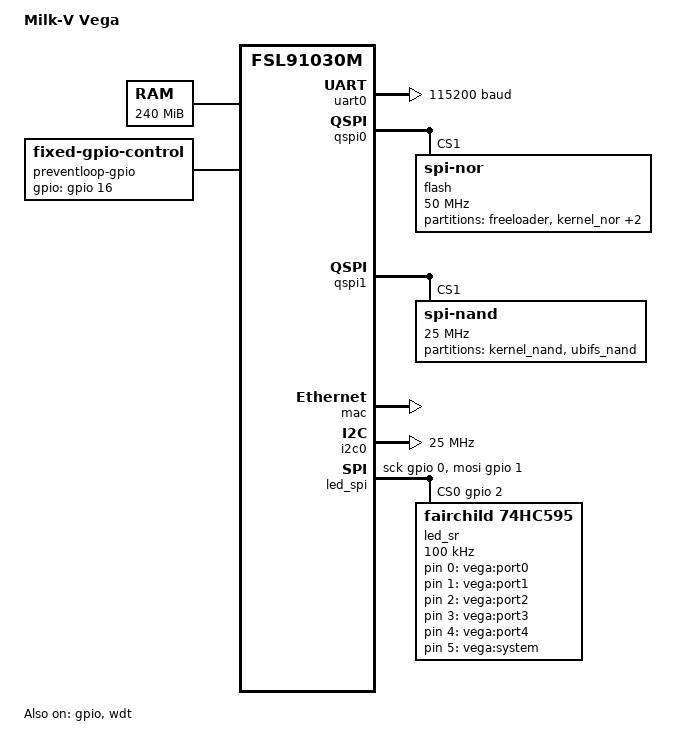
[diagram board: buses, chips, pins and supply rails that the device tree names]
// SPDX-License-Identifier: (GPL-2.0 OR MIT)
/* Copyright (c) 2020 Nuclei System Technologies */

/* Clock frequency (in Hz) of the PCB crystal for rtcclk */
/*#define RTCCLK_FREQ		32768*/

/dts-v1/;

/ {
	#address-cells = <2>;
	#size-cells = <2>;
	compatible = "milkv,vega", "fisilink,fsl91030m";
	model = "Milk-V Vega";

	chosen {
		bootargs = "earlycon=sbi console=ttySIF0,115200 no4lvl no5lvl ubi.mtd=ubifs_nand root=ubi0:rootfs rootfstype=ubifs rootwait rw";
		stdout-path = "serial0";
	};

	aliases {
		serial0 = &uart0;
		serial1 = &uart1;
	};

	cpus {
		#address-cells = <1>;
		#size-cells = <0>;
		timebase-frequency = <48828>;
		
		cpu0: cpu@0 {
			device_type = "cpu";
			reg = <0>;
			status = "okay";
			compatible = "riscv";
			/*
			 * Linux 6.6+ deprecated the single "riscv,isa" string
			 * and parses isa-base + isa-extensions instead.
			 * Keep "riscv,isa" for U-Boot/older consumers.
			 */
			riscv,isa = "rv64imafdc";
			riscv,isa-base = "rv64i";
			riscv,isa-extensions = "i", "m", "a", "f", "d", "c",
					       "zicsr", "zifencei";
			riscv,satp-mode = "sv39";	/* force Sv39 (6.5+ supported) */
			mmu-type = "riscv,sv39";
			clock-frequency = <400000000>;
		
			cpu0_intc: interrupt-controller {
				#interrupt-cells = <1>;
				interrupt-controller;
				compatible = "riscv,cpu-intc";
			};
		};
	};

	memory@41000000 {
		device_type = "memory";
		reg = <0x0 0x41000000 0x0 0xf000000>;
	};

	soc {
		#address-cells = <2>;
		#size-cells = <2>;
		compatible = "nuclei,ux600fd", "simple-bus";
		ranges;
	};

	hfclk: hfclk {
		#clock-cells = <0>;
		compatible = "fixed-clock";
		clock-frequency = <200000000>;
		clock-output-names = "hfclk";
	};
 
 	hfclk2: hfclk2 {
		#clock-cells = <0>;
		compatible = "fixed-clock";
		clock-frequency = <100000000>;
		clock-output-names = "hfclk2";
	};

	console {
		compatible = "sbi,console";
	};

	plic0: interrupt-controller@8000000 {
		#interrupt-cells = <1>;
		compatible = "riscv,plic0";
		interrupt-controller;
		riscv,ndev = <53>;
		interrupts-extended =
		<&cpu0_intc 11 &cpu0_intc 9>;
		reg = <0x0 0x8000000 0x0 0x4000000>;
	};

	/*
	 * Split ACLINT description of the Nuclei timer block (CLINT-
	 * compatible part starts at +0x1000). The "riscv,aclint-mswi"
	 * and "riscv,aclint-mtimer" compatibles let OpenSBI's FDT
	 * driver take sizes from DT reg (instead of the sifive,clint0
	 * path which hardcodes the 16 KiB MSWI / 32 KiB mtimecmp
	 * sizes that fragment the PMP map on this 8-PMP-entry SoC).
	 *
	 * Linux and U-Boot here use SBI for timer/IPI, so they don't
	 * care whether we describe it as CLINT or split ACLINT.
	 */
	mswi: mswi@2001000 {
		compatible = "riscv,aclint-mswi";
		reg = <0x0 0x02001000 0x0 0x1000>;
		interrupts-extended = <&cpu0_intc 3>;
	};

	mtimer: mtimer@2005000 {
		compatible = "riscv,aclint-mtimer";
		reg = <0x0 0x02005000 0x0 0x8>,     /* mtimecmp */
		      <0x0 0x0200cff8 0x0 0x8>;     /* mtime */
		reg-names = "mtimecmp", "mtime";
		interrupts-extended = <&cpu0_intc 7>;
	};

	syscon: syscon@2000000 {
		compatible = "syscon", "simple-mfd";
		reg = <0x0 0x02000000 0x0 0x1000>;
	};

	reboot {
		compatible = "syscon-reboot";
		regmap = <&syscon>;
		offset = <0xff0>;
		mask = <0xffffffff>;
		value = <0x80000a5f>;
	};

	poweroff {
		compatible = "syscon-poweroff";
		regmap = <&syscon>;
		offset = <0xff0>;
		mask = <0xffffffff>;
		value = <0x80000a5f>;
	};

	uart0: serial@10013000 {
		compatible = "sifive,uart0";
		reg = <0x0 0x10013000 0x0 0x1000>;
		interrupt-parent = <&plic0>;
		interrupts = <2>;
		clocks = <&hfclk2>;
		clock-frequency = <100000000>;
		current-speed = <115200>;
		status = "okay";
	};

	uart1: serial@10012000 {
		compatible = "sifive,uart0";
		reg = <0x0 0x10012000 0x0 0x1000>;
		interrupt-parent = <&plic0>;
		interrupts = <3>;
		clocks = <&hfclk2>;
		status = "disabled";
	};
  
	qspi0: spi@10014000 {
		compatible = "sifive,spi0";
		reg = <0x0 0x10014000 0x0 0x1000>;
		interrupt-parent = <&plic0>;
		interrupts = <5>;
		clocks = <&hfclk2>;
		num-cs = <1>;
		#address-cells = <1>;
		#size-cells = <0>;
		sifive,fifo-depth = <4>;
		status = "okay";

		flash@1 {
			compatible = "jedec,spi-nor";
			reg = <1>;
			spi-tx-bus-width = <1>;
			spi-rx-bus-width = <1>;
			spi-max-frequency = <50000000>;

			partitions {
				compatible = "fixed-partitions";
				#address-cells = <1>;
				#size-cells = <1>;

				partition@0 {
					reg = <0x00000000 0x00100000>;
					label = "freeloader";
				};

				partition@100000 {
					reg = <0x00100000 0x00400000>;
					label = "kernel_nor";
				};

				partition@500000 {
					reg = <0x00500000 0x01400000>;
					label = "ramfs_nor";
				};

				partition@1900000 {
					reg = <0x01900000 0x00A00000>;
					label = "jffs2_nor";
				};
			};
		};
	};

	qspi1: spi@10016000 {
		compatible = "sifive,spi0";
		reg = <0x0 0x10016000 0x0 0x1000>;
		interrupt-parent = <&plic0>;
		interrupts = <6>;
		clocks = <&hfclk2>;
		num-cs = <1>;
		#address-cells = <1>;
		#size-cells = <0>;
		/* Nuclei variant FIFO depth — see qspi0 comment */
		sifive,fifo-depth = <4>;
		status = "okay";
  
		spi-nand@1 {
			compatible = "spi-nand";
			reg = <1>;
			spi-max-frequency = <25000000>;
			spi-tx-bus-width = <1>;
			spi-rx-bus-width = <1>;

			partitions {
				compatible = "fixed-partitions";
				#address-cells = <1>;
				#size-cells = <1>;

				partition@0 {
					reg = <0x00000000 0x00800000>;
					label = "kernel_nand";
				};

				partition@800000 {
					reg = <0x00800000 0x07800000>;
					label = "ubifs_nand";
				};
			};
		};
	};
  
	mac: ethernet@67800000 {
		compatible = "fsl,fsl-mac";
		reg = <0x0 0x67800000 0x0 0x1000>;
		interrupt-parent = <&plic0>;
		interrupts = <10>,<11>,<12>;
		clocks = <&hfclk>;
		num-cs = <1>;
		#address-cells = <1>;
		#size-cells = <0>;
		status = "okay";
	};	

	gpio: gpio@10011000 {
		compatible = "sifive,gpio0";
		interrupt-parent = <&plic0>;
		interrupts = <1>;
		reg = <0x0 0x10011000 0x0 0x1000>;
		gpio-controller;
		#gpio-cells = <2>;
		interrupt-controller;
		#interrupt-cells = <2>;
		clocks = <&hfclk>;
		status = "okay";
	};

	i2c0: ocores@10018000 {
		compatible = "opencores,i2c-ocores";
		#address-cells = <1>;
		#size-cells = <0>;     
		interrupt-parent = <&plic0>;
		interrupts = <4>;
		reg = <0x0 0x10018000 0x0 0x1000>;
		clock-frequency = <25000000>;
	}; 

  	wdt: watchdog@68000000 {
		compatible = "riscv,fsl-wdt";
		reg = <0x0 0x68000000 0x0 0x20>;
		interrupt-parent = <&plic0>;
		interrupts = <8>;
		clocks = <&hfclk>;
		status = "okay";
	};		

	/* TODO Vega: confirm exact GPIO numbers via `cat /sys/module/led_164/parameters/*`
	 * on vendor 5.8 kernel. */
	
	/* Bit-banged SPI bus to drive the 74HC164 shift register chain */
	led_spi: spi {
		compatible = "spi-gpio";
		#address-cells = <1>;
		#size-cells = <0>;
		sck-gpios = <&gpio 0 0>;	/* TODO: gpio_clk */
		mosi-gpios = <&gpio 1 0>;	/* TODO: gpio_data */
		cs-gpios = <&gpio 2 0>;		/* TODO: gpio_rst (active-low chip clear) */
		num-chipselects = <1>;
	
		led_sr: gpio-controller@0 {
			compatible = "fairchild,74hc595";  /* 74HC164 is shift-only, but 74HC595 driver
			                                     also works */
			reg = <0>;
			spi-max-frequency = <100000>;
			registers-number = <2>;  /* TODO: number of cascaded chips */
			gpio-controller;
			#gpio-cells = <2>;
		};
	};
	
	leds {
		compatible = "gpio-leds";
		
		led-port0   { label = "vega:port0";   gpios = <&led_sr 0 0>; };
		led-port1   { label = "vega:port1";   gpios = <&led_sr 1 0>; };
		led-port2   { label = "vega:port2";   gpios = <&led_sr 2 0>; };
		led-port3   { label = "vega:port3";   gpios = <&led_sr 3 0>; };
		led-port4   { label = "vega:port4";   gpios = <&led_sr 4 0>; };
		led-system  { label = "vega:system";  gpios = <&led_sr 5 0>; };
	};
	
	preventloop-gpio {
		compatible = "fixed-gpio-control";  /* TODO: stub — drive at boot */
		gpios = <&gpio 16 0>;	/* TODO: gpio_preventloop */
	};

};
